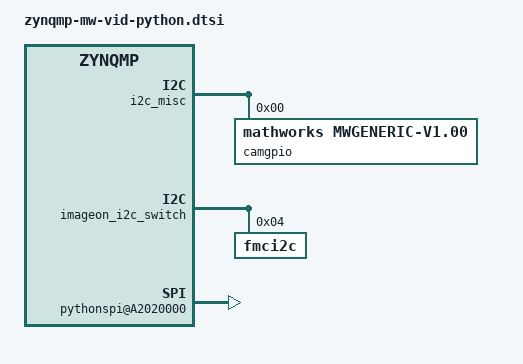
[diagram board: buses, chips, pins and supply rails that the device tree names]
#include "zynqmp-mw-vid-imageon.dtsi"

/{
	i2c_misc {
		camgpio {
			compatible = "mathworks,mwgeneric-v1.00";       
			reg = <0x0>;    
			mwgen,type = "nomem";            
			mwgen,devname = "camgpio";            
			i2c-controller = <&camgpio_i2c>;
		};
	};
};

&imageon_i2c_switch{
	
	fmci2c@4 {
		#address-cells = <1>;
		#size-cells = <0>;
		reg = <4>;
		
		camgpio_i2c: camgpio@24 {
			compatible = "mwnxp,mwpca9654";
			reg = <0x24>;
		};
	};
};

&fpga_axi{   	
	
    pythonspi@A2020000 {
		compatible = "mathworks,mwgeneric-v1.00";
		reg = <0xA2020000 0xffff>;
		mwgen,ipname = "avnet,onsemi_vita_spi";
		mwgen,devname = "pythonrxspi";
		mwgen,ipinst = "onsemi_vita_spi";
		mwgen,ipver = "3.3";
	};

	pythoncam@A2030000 {
		compatible = "mathworks,mwgeneric-v1.00";
		reg = <0xA2030000 0xffff>;
		mwgen,ipname = "avnet,onsemi_vita_cam";
		mwgen,devname = "pythonrxcam";
		mwgen,ipinst = "onsemi_vita_cam";
		mwgen,ipver = "3.3";
	};
	
	pythoncfa@A2040000 {
		compatible = "mathworks,mwgeneric-v1.00";
		reg = <0xA2040000 0xffff>;
		mwgen,ipname = "mathworks,mw_cfa";
		mwgen,devname = "pythoncfa";
		mwgen,ipinst = "vita_cfa";
		mwgen,ipver = "2.0";
	};

	gpio@A3020000 {
		compatible = "mathworks,mwgeneric-v1.00";
		reg = <0xA3020000 0xffff>;
		mwgen,ipname = "xlnx,axi_gpio";
		mwgen,devname = "axigpio";
		mwgen,ipinst = "axi_gpio_0";
		mwgen,ipver = "1.12.a";
	};
	
};

